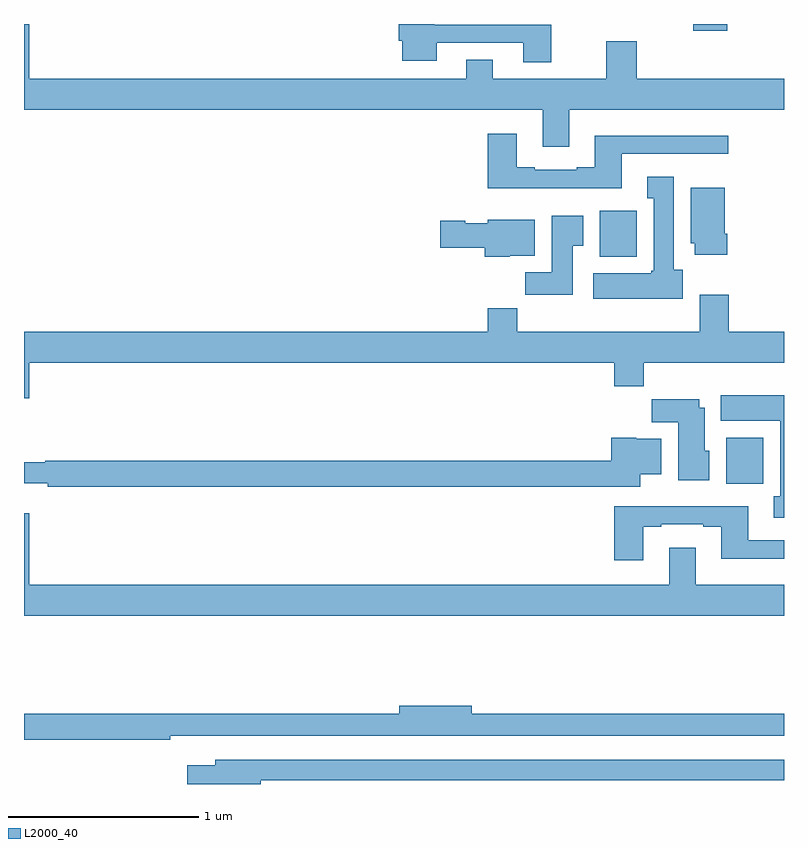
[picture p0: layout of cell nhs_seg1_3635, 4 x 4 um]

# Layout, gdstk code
import gdstk
lib = gdstk.Library(unit=1e-6, precision=1e-09)
def R(c, l, rs):  # rectangles x0, y0, x1, y1
    for r in rs: c.add(gdstk.rectangle(r[:2], r[2:], *l))
def P(c, l, *ps):  # polygons
    for p in ps: c.add(gdstk.Polygon(p, *l))
L2000_40 = (2000, 40)

nhs_seg1_3635 = lib.new_cell('nhs_seg1_3635')
R(nhs_seg1_3635, L2000_40, [(312.695,533.78,312.892,534.022), (312.029,534.974,312.226,535.216), (312.523,536.163,312.701,536.199)])
P(nhs_seg1_3635, L2000_40, [(311.775,536.196),(311.158,536.196),(311.158,536.199),(310.972,536.199),(310.972,536.11),(310.991,536.11),(310.991,536.006),(311.173,536.006),(311.173,536.1),(311.627,536.1),(311.627,535.998),(311.775,535.998)],
  [(311.869,535.748),(313,535.748),(313,535.912),(312.224,535.912),(312.224,536.107),(312.064,536.107),(312.064,535.912),(311.467,535.912),(311.467,536.011),(311.327,536.011),(311.327,535.912),(309.028,535.912),(309.028,536.199),(309,536.199),(309,535.748),(311.729,535.748),(311.729,535.554),(311.869,535.554)],
  [(312.145,535.515),(312.706,535.515),(312.706,535.612),(312.005,535.612),(312.005,535.444),(311.909,535.444),(311.909,535.431),(311.689,535.431),(311.689,535.444),(311.593,535.444),(311.593,535.621),(311.441,535.621),(311.441,535.334),(312.145,535.334)],
  [(312.466,534.906),(312.421,534.906),(312.421,535.396),(312.281,535.396),(312.281,535.283),(312.314,535.283),(312.314,534.9),(312.301,534.9),(312.301,534.886),(311.997,534.886),(311.997,534.752),(312.466,534.752)],
  [(312.701,535.096),(312.688,535.096),(312.688,535.336),(312.509,535.336),(312.509,535.044),(312.53,535.044),(312.53,534.984),(312.701,534.984)],
  [(311.887,535.033),(311.944,535.033),(311.944,535.189),(311.777,535.189),(311.777,534.892),(311.638,534.892),(311.638,534.774),(311.887,534.774)],
  [(311.556,534.98),(311.689,534.98),(311.689,535.168),(311.442,535.168),(311.442,535.15),(311.322,535.15),(311.322,535.163),(311.19,535.163),(311.19,535.021),(311.426,535.021),(311.426,534.974),(311.556,534.974)],
  [(309.028,534.416),(312.107,534.416),(312.107,534.292),(312.263,534.292),(312.263,534.416),(313,534.416),(313,534.58),(312.71,534.58),(312.71,534.775),(312.557,534.775),(312.557,534.58),(311.597,534.58),(311.597,534.704),(311.441,534.704),(311.441,534.58),(309,534.58),(309,534.228),(309.028,534.228)],
  [(313,534.244),(312.668,534.244),(312.668,534.11),(312.98,534.11),(312.98,533.714),(312.947,533.714),(312.947,533.601),(313,533.601)],
  [(312.607,533.952),(312.583,533.952),(312.583,534.178),(312.553,534.178),(312.553,534.223),(312.304,534.223),(312.304,534.104),(312.443,534.104),(312.443,533.798),(312.607,533.798)],
  [(312.244,533.828),(312.355,533.828),(312.355,534.016),(312.222,534.016),(312.222,534.022),(312.092,534.022),(312.092,533.9),(309.112,533.9),(309.112,533.893),(309,533.893),(309,533.783),(309.124,533.783),(309.124,533.764),(312.244,533.764)],
  [(312.259,533.553),(312.355,533.553),(312.355,533.565),(312.575,533.565),(312.575,533.553),(312.671,533.553),(312.671,533.384),(313,533.384),(313,533.481),(312.811,533.481),(312.811,533.662),(312.107,533.662),(312.107,533.376),(312.259,533.376)],
  [(313,533.248),(312.535,533.248),(312.535,533.443),(312.395,533.443),(312.395,533.248),(309.028,533.248),(309.028,533.623),(309,533.623),(309,533.084),(313,533.084)],
  [(309.77,532.452),(313,532.452),(313,532.568),(311.356,532.568),(311.356,532.611),(310.976,532.611),(310.976,532.568),(309,532.568),(309,532.432),(309.77,532.432)],
  [(310.246,532.218),(313,532.218),(313,532.326),(310.007,532.326),(310.007,532.297),(309.858,532.297),(309.858,532.199),(310.246,532.199)])

lib.write_gds('nhs_seg1_3635.gds')
